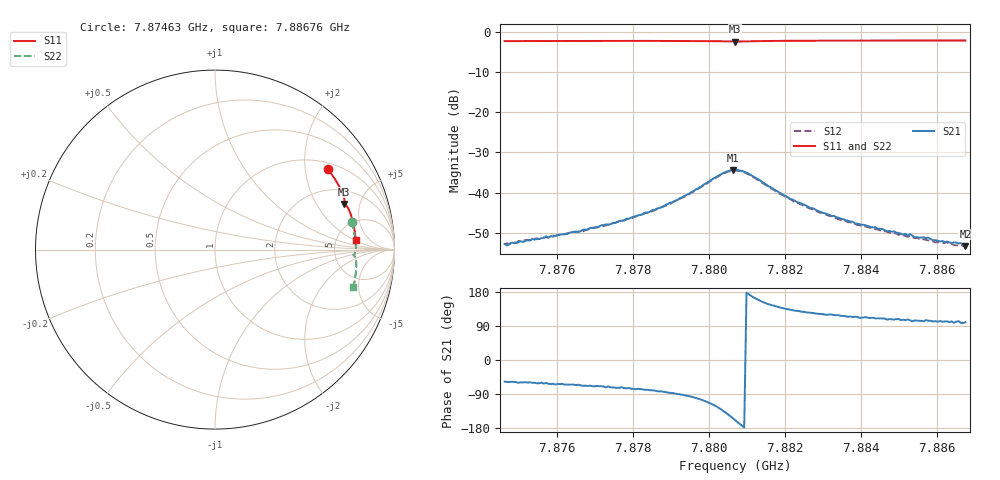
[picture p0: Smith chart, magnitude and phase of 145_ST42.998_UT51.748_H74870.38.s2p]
#  HZ  S  DB  R  50.00
! Rohde & Schwarz Vector Network Analyzer
! Rohde-Schwarz,ZNB20-2Port,1311601062101988,3.16
! Created: UTC 1/12/2023, 6:40:04 PM
! freq[Hz]  db:S11  ang:S11  db:S21  ang:S21  db:S12  ang:S12  db:S22  ang:S22
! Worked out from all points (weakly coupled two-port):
!   201 points, 7.87463 GHz to 7.88676 GHz, reference 50 ohm
!   highest |S21| = -34.34 dB at 7.88063 GHz (marker M1); lowest = -53.3 dB at 7.88676 GHz (marker M2)
!   lowest |S11| = -2.3 dB at 7.88069 GHz (marker M3), VSWR 7.45, Z = 146 + j178 ohm
!   |S11| at or under -10 dB: nowhere
!   |S22| runs from -2.3 to -2.0 dB; largest |S21 - S12| = 0.0012
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7.874625e9  -2.25 35.4  -52.78 -56.9  -52.91 -61.4  -2.20 11.5
7.874686e9  -2.25 35.3  -53.18 -58.0  -52.60 -60.3  -2.20 11.3
7.874807e9  -2.24 35.0  -52.48 -57.4  -52.57 -61.2  -2.19 11.0
7.875717e9  -2.22 32.4  -50.90 -60.5  -51.14 -67.5  -2.17 8.8
7.875777e9  -2.23 32.3  -51.26 -62.6  -51.22 -65.5  -2.17 8.6
7.876687e9  -2.21 29.8  -49.25 -68.3  -49.66 -71.0  -2.14 6.5
7.877536e9  -2.20 27.5  -47.53 -72.8  -47.57 -75.4  -2.11 4.6
7.878689e9  -2.19 24.3  -43.83 -82.7  -43.97 -86.2  -2.10 1.8
7.879417e9  -2.20 22.2  -40.60 -94.2  -40.78 -98.1  -2.11 0.1
7.880326e9  -2.31 19.8  -35.39 -130.5  -35.53 -134.0  -2.21 -2.0
7.88063e9  -2.35 19.4  -34.34 -153.3  -34.55 -156.8  -2.25 -2.3
7.88069e9  -2.35 19.4  -34.37 -158.6  -34.52 -161.8  -2.25 -2.3
7.881054e9  -2.30 19.0  -35.30 173.5  -35.49 169.8  -2.20 -2.5
7.882146e9  -2.17 16.2  -41.56 132.7  -41.65 129.3  -2.06 -4.8
7.882753e9  -2.15 14.5  -43.93 123.9  -44.19 120.4  -2.03 -6.3
7.883844e9  -2.12 11.5  -47.64 114.0  -47.79 111.1  -2.00 -8.8
7.884754e9  -2.11 9.1  -49.56 107.8  -49.99 105.5  -1.98 -10.8
7.885239e9  -2.10 7.8  -50.72 106.9  -51.02 101.5  -1.97 -11.9
7.8853e9  -2.10 7.7  -50.36 104.8  -50.80 102.1  -1.97 -12.0
7.885421e9  -2.10 7.3  -51.11 104.4  -51.33 101.6  -1.97 -12.2
7.886634e9  -2.09 4.2  -52.61 98.0  -53.07 96.3  -1.96 -14.9
7.886756e9  -2.09 3.9  -53.30 99.7  -53.35 96.0  -1.96 -15.1
